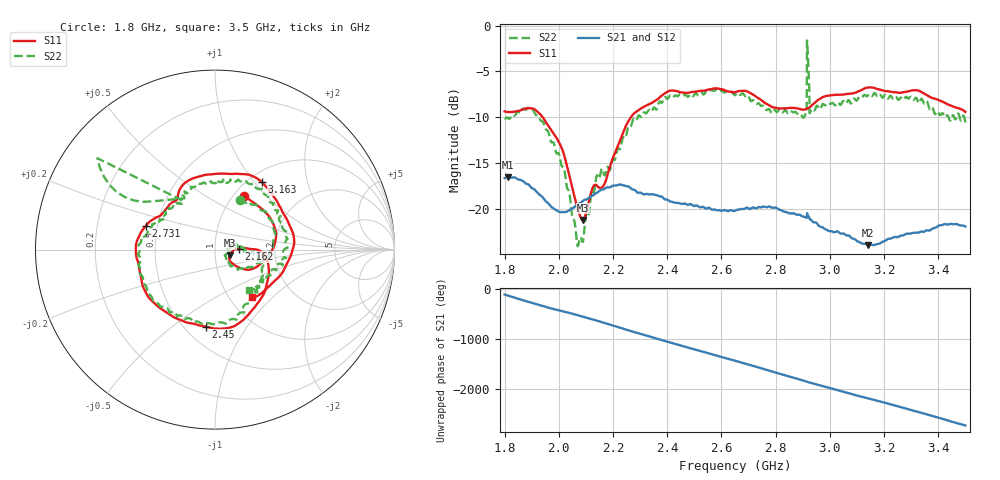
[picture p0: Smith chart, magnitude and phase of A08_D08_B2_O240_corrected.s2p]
! Created with skrf 1.9.0 (http://scikit-rf.org).
# Hz S RI R 50.0
!freq ReS11 ImS11 ReS21 ImS21 ReS12 ImS12 ReS22 ImS22
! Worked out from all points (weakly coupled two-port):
!   1601 points, 1.8 GHz to 3.5 GHz, reference 50 ohm
!   highest |S21| = -16.52 dB at 1.812 GHz (marker M1); lowest = -23.9 dB at 3.142 GHz (marker M2)
!   lowest |S11| = -21.2 dB at 2.089 GHz (marker M3), VSWR 1.19, Z = 58.7 - j3.73 ohm
!   |S11| at or under -10 dB: 1.941 GHz to 2.266 GHz (324.6 MHz wide, 15.4 % of centre)
!   |S22| runs from -24.0 to -1.6 dB; largest |S21 - S12| = 0.0029
!   S11 on the Smith chart (normalised r, x): 1.8 GHz: 1.12, +0.76; 2.162 GHz: 1.31, +0.01; 2.45 GHz: 0.63, -0.67; 2.731 GHz: 0.43, +0.14; 3.163 GHz: 1.16, +1.10; 3.5 GHz: 1.27, -0.77
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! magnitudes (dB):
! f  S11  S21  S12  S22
! 1.8 GHz  -9.3  -16.6  -16.6  -10.2
! 1.812 GHz  -9.4  -16.5  -16.5  -10.0
! 1.888 GHz  -9.0  -17.3  -17.4  -9.0
! 1.941 GHz  -10.0  -18.7  -18.7  -10.5
! 2.011 GHz  -13.4  -20.3  -20.3  -15.3
! 2.067 GHz  -19.6  -19.5  -19.5  -23.6
! 2.084 GHz  -21.1  -19.2  -19.2  -23.3
! 2.089 GHz  -21.2  -19.1  -19.1  -23.5
! 2.128 GHz  -17.5  -18.5  -18.5  -18.2
! 2.162 GHz  -17.6  -17.9  -17.8  -15.7
! 2.262 GHz  -10.2  -17.6  -17.7  -11.0
! 2.367 GHz  -7.9  -18.5  -18.5  -8.5
! 2.45 GHz  -7.3  -19.4  -19.4  -7.5
! 2.65 GHz  -7.3  -20.2  -20.2  -7.6
! 2.731 GHz  -7.8  -19.9  -19.9  -8.5
! 2.904 GHz  -9.2  -20.8  -20.8  -10.0
! 2.924 GHz  -8.9  -20.9  -20.9  -7.1
! 2.934 GHz  -8.7  -21.3  -21.3  -9.1
! 3.142 GHz  -6.8  -23.9  -23.8  -7.5
! 3.163 GHz  -6.8  -23.9  -23.9  -7.4
! 3.217 GHz  -7.2  -23.2  -23.2  -7.9
! 3.5 GHz  -9.4  -21.9  -21.9  -10.6
